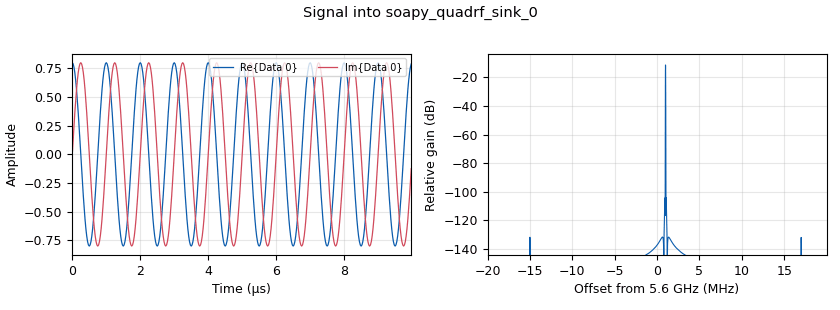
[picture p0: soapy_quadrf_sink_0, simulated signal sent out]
options:
  parameters:
    generate_options: qt_gui
    id: quadrf_tx_tone
    output_language: python
    title: QuadRF TX Tone
  states: {}

blocks:
- name: freq
  id: variable
  parameters:
    value: 5.6e9
  states: {}
- name: samp_rate
  id: variable
  parameters:
    value: 40e6
  states: {}
- name: txgain
  id: variable_qtgui_dial_control
  parameters:
    label: tx gain
    maximum: '63'
    minimum: '0'
    showvalue: 'True'
    type: int
    value: '10'
  states: {}
- name: analog_sig_source_x_0
  id: analog_sig_source_x
  parameters:
    amp: '0.8'
    freq: 1e6
    offset: '0'
    phase: '0'
    samp_rate: samp_rate
    type: complex
    waveform: analog.GR_COS_WAVE
  states: {}
- name: soapy_quadrf_sink_0
  id: soapy_quadrf_sink
  parameters:
    ant1: 'True'
    ant2: 'True'
    ant3: 'True'
    ant4: 'True'
    bandwidth: '0'
    center_freq: freq
    dev_args: ''
    follow_rx: 'False'
    gain: txgain
    phase1: '0'
    phase2: '0'
    phase3: '0'
    phase4: '0'
    samp_rate: samp_rate
    tone_en: 'False'
    tone_freq: 1.0e6
    type: fc32
  states: {}

connections:
- [analog_sig_source_x_0, '0', soapy_quadrf_sink_0, '0']

metadata:
  file_format: 1
  grc_version: 3.10.12.0
